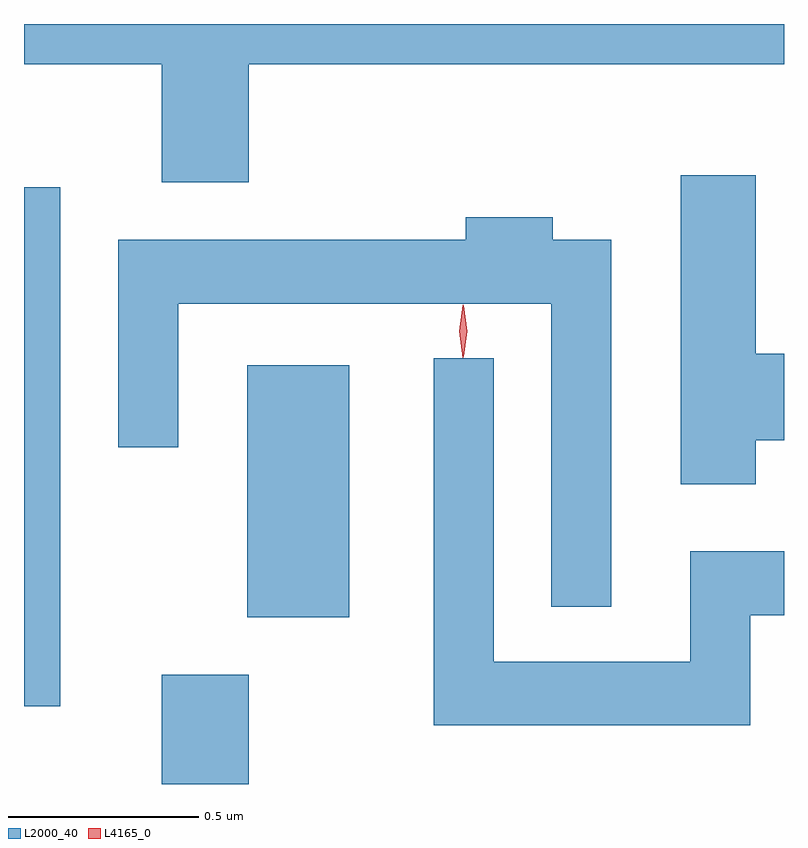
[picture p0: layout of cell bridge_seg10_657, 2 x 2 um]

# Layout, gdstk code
import gdstk
lib = gdstk.Library(unit=1e-6, precision=1e-09)
def R(c, l, rs):  # rectangles x0, y0, x1, y1
    for r in rs: c.add(gdstk.rectangle(r[:2], r[2:], *l))
def P(c, l, *ps):  # polygons
    for p in ps: c.add(gdstk.Polygon(p, *l))
L2000_40 = (2000, 40)
L4165_0 = (4165, 0)

bridge_seg10_657 = lib.new_cell('bridge_seg10_657')
R(bridge_seg10_657, L2000_40, [(837.751,2136.442,837.979,2136.729), (837.388,2136.646,837.484,2138.013), (837.976,2136.881,838.244,2137.544)])
P(bridge_seg10_657, L2000_40, [(837.979,2138.336),(839.388,2138.336),(839.388,2138.442),(837.388,2138.442),(837.388,2138.336),(837.751,2138.336),(837.751,2138.026),(837.979,2138.026)],
  [(839.314,2137.346),(839.388,2137.346),(839.388,2137.574),(839.314,2137.574),(839.314,2138.044),(839.116,2138.044),(839.116,2137.231),(839.314,2137.231)],
  [(838.934,2137.874),(838.779,2137.874),(838.779,2137.934),(838.551,2137.934),(838.551,2137.874),(837.636,2137.874),(837.636,2137.328),(837.794,2137.328),(837.794,2137.706),(838.776,2137.706),(838.776,2136.908),(838.934,2136.908)],
  [(839.299,2136.886),(839.388,2136.886),(839.388,2137.054),(839.141,2137.054),(839.141,2136.764),(838.624,2136.764),(838.624,2137.563),(838.466,2137.563),(838.466,2136.596),(839.299,2136.596)])
P(bridge_seg10_657, L4165_0, [(838.543,2137.564),(838.534,2137.633),(838.543,2137.702),(838.544,2137.703),(838.544,2137.702),(838.554,2137.633),(838.544,2137.564),(838.544,2137.564)],
  [(838.544,2137.567),(838.544,2137.568),(838.534,2137.634),(838.544,2137.7),(838.544,2137.7),(838.545,2137.7),(838.554,2137.634),(838.545,2137.568)])

lib.write_gds('bridge_seg10_657.gds')
